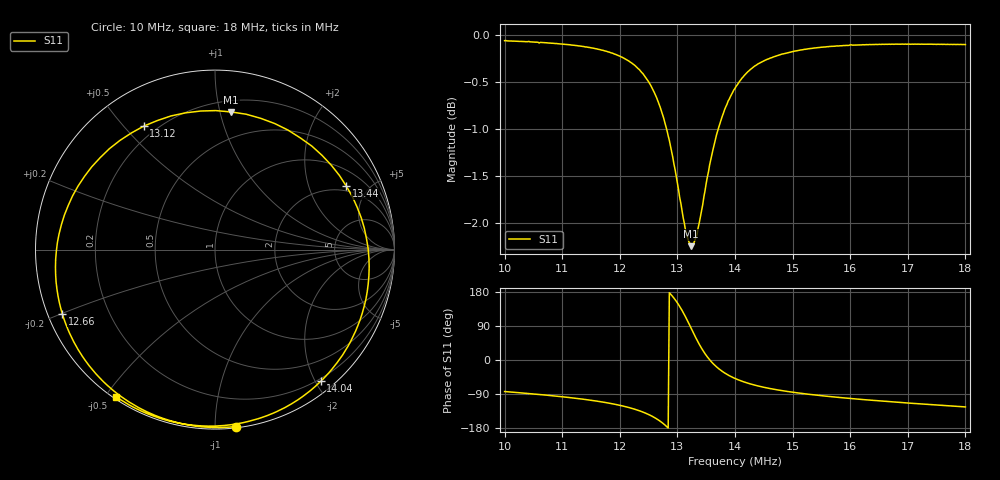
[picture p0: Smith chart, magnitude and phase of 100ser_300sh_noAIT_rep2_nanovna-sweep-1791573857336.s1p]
! NanoVNA Web complex sweep
! Processing: original sample grid, no browser smoothing
# Hz S RI R 50
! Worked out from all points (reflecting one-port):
!   401 points, 10 MHz to 18 MHz, reference 50 ohm
!   lowest |S11| = -2.2 dB at 13.24 MHz (marker M1), VSWR 7.78, Z = 14.2 + j54.1 ohm
!   phase of S11 starts at -83 deg and turns -401 deg over the sweep
!   S11 on the Smith chart (normalised r, x): 10 MHz: 0.01, -1.13; 12.66 MHz: 0.04, -0.20; 13.12 MHz: 0.15, +0.57; 13.44 MHz: 1.72, +3.59; 14.04 MHz: 0.16, -2.07; 18 MHz: 0.01, -0.53
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1e7  0.1171 -0.9862
1.1e7  -0.1202 -0.9816
1.158e7  -0.3041 -0.9352
1.2e7  -0.4809 -0.8476
1.238e7  -0.6892 -0.6614
1.252e7  -0.7746 -0.5363
1.266e7  -0.851 -0.3562
1.276e7  -0.8852 -0.1814
1.286e7  -0.8781 0.0394
1.294e7  -0.8176 0.246
1.3e7  -0.7271 0.4079
1.306e7  -0.5882 0.5624
1.312e7  -0.3971 0.6878
1.318e7  -0.1643 0.7618
1.324e7  0.089 0.767
1.334e7  0.4747 0.6227
1.344e7  0.7314 0.354
1.35e7  0.8151 0.1763
1.356e7  0.8531 0.00793
1.37e7  0.831 -0.3164
1.384e7  0.7405 -0.539
1.4e7  0.6186 -0.7035
1.404e7  0.5887 -0.734
1.442e7  0.3426 -0.9032
1.5e7  0.0854 -0.9762
1.6e7  -0.1951 -0.9685
1.7e7  -0.3946 -0.9068
1.8e7  -0.5504 -0.8209
